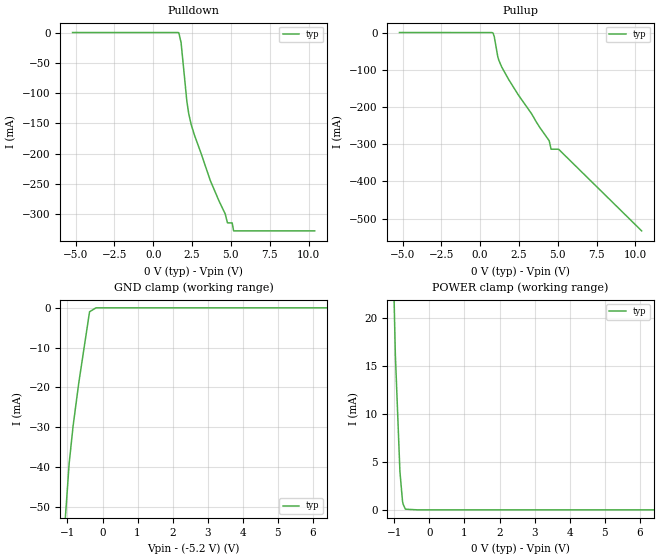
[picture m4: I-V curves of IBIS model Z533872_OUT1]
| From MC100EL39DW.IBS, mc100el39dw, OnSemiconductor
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| (C) COPYRIGHT 1993-2000
| MENTOR GRAPHICS CORPORATION
| ICX STANDARD LIBRARY, ICX PROJECT MODELING,
| ICX CUSTOM MODELING, ICX VENDOR MODEL
| ALL RIGHTS RESERVED.
| THE FOLLOWING ARE TRADEMARKS OR SERVICE MARKS OF
| MENTOR GRAPHICS CORPORATION:ICX (R), ICX STANDARD
| LIBRARY(R), ICX PROJECT MODELING(R), ICX CUSTOM
| MODELING(R), qualityIBIS(TM), MODELVIEWER(TM),
| AND MODELEDITOR(TM)
| ALL COPIES OF SOFTWARE, INCLUDING BUT NOT LIMITED TO
| ANY MODIFICATIONS, ENHANCEMENTS OR DERIVATIVE WORKS,
| MUST CONTAIN ALL MENTOR GRAPHICS CORPORATION'S
| NOTICES AND LEGENDS, INCLUDING THOSE EMBEDDED IN
| SOFTWARE AND THOSE AFFIXED TO SOFTWARE MEDIUM
| AND CONTAINER, AS RECEIVED FROM MENTOR GRAPHICS
| CORPORATION.
| Model Application Version 1.89 2/18/99.
[Model] Z533872_OUT1
Model_type Output_ECL
Vref=-2.000V
Rref=50.00ohms
Cref=0.000F
Vmeas=-1.320V
C_comp 2.000pF NA NA
| variable typ   min   max
[Voltage Range] -5.200V NA NA
[POWER Clamp Reference] 0.000V NA NA
[Pullup Reference] 0.000V NA NA
[Pulldown Reference] 0.000V NA NA
[GND Clamp Reference] -5.200V NA NA
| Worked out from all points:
|   GND clamp passes 1 mA (typ) near -0.37 V on its own axis
|   POWER clamp passes 1 mA (typ) near -0.77 V on its own axis
[GND Clamp]
-5.2V     -962.3mA   NA         NA
-1.192V   -76.1mA    NA         NA
-1.059V   -52.7mA    NA         NA
-951mV    -39.1mA    NA         NA
-839mV    -29.7mA    NA         NA
-674mV    -18.7mA    NA         NA
-370mV    -1mA       NA         NA
-185mV    0A         NA         NA
10.4V     0A         NA         NA
[Pulldown]
-5.2V     20.91uA    NA         NA
1.645V    -551.4uA   NA         NA
1.789V    -16.5mA    NA         NA
2.164V    -114.2mA   NA         NA
2.281V    -133.9mA   NA         NA
2.442V    -152.3mA   NA         NA
3.672V    -244.6mA   NA         NA
4.634V    -299.8mA   NA         NA
4.777V    -314.5mA   NA         NA
5.083V    -314.7mA   NA         NA
5.173V    -327.7mA   NA         NA
10.4V     -327.7mA   NA         NA
[Pullup]
-5.2V     135.9uA    NA         NA
800.6mV   -686.1uA   NA         NA
908.1mV   -11.12mA   NA         NA
1.133V    -64.61mA   NA         NA
1.201V    -74.5mA    NA         NA
1.402V    -93.67mA   NA         NA
2.447V    -166.9mA   NA         NA
3.318V    -218.6mA   NA         NA
4.448V    -290.8mA   NA         NA
4.567V    -313.4mA   NA         NA
5.065V    -314mA     NA         NA
10.4V     -532.7mA   NA         NA
[POWER Clamp]
-5.2V     1.398A     NA         NA
-1.169V   56.11mA    NA         NA
-1.088V   34.86mA    NA         NA
-971.1mV  16.22mA    NA         NA
-840.9mV  4.007mA    NA         NA
-766.5mV  899.6uA    NA         NA
-746.9mV  568uA      NA         NA
-683.6mV  70uA       NA         NA
-341.8mV  0A         NA         NA
10.4V     0A         NA         NA
[Ramp]
| variable typ min max
dV/dt_r 447.2m/347.5p NA NA
dV/dt_f 447.2m/395.7p NA NA
R_load = 50.00Ohms
